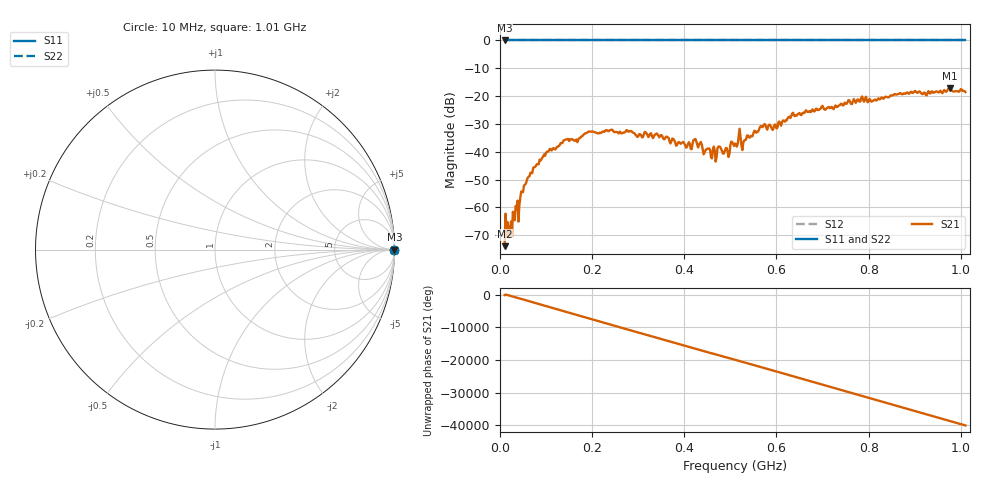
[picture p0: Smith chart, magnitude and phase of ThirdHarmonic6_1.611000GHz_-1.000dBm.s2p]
! 8/16/2025 7:13:39 PM
! C:\ANRITSUVNA\TEMP\TEMP.S2P
! CHANNEL.1
! TR.MEASUREMENT
! RAW.DATA
! RF.CORRECTION.OFF
! AVERAGING.OFF
! IF.BANDWIDTH: 5KHZ
! SWEEPTYPE:  FREQ.SWEEP(Linear)
! Reference Plane Port Info
! PORT:  PORT1  PORT2
! DISTANCE:  0  m  0  m
! TIME:  0  s  0  s
! PHASE.OFFSET:  0  deg.  0  deg.
! LOSS:  0  dB  0  dB
! REF.LOSS:  0  dB  0  dB
! REF.FREQ:  0  Hz  0  Hz
! Power Info
! POWER:  -20  dBm  -20  dBm
! EFF.POWER:  -20  dBm  -20  dBm
! SOURCE.ATTEN:  0  dB  0  dB
! TEST.ATTEN:  0  dB  0  dB
# GHZ S RI R 50.0
! FREQ.GHZ  S11RE  S11IM  S21RE  S21IM  S12RE  S12IM  S22RE  S22IM
!; PortSelection: Port_12
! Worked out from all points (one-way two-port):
!   501 points, 10 MHz to 1.01 GHz, reference 50 ohm
!   highest |S21| = -17.27 dB at 976 MHz (marker M1); lowest = -74.0 dB at 10 MHz (marker M2)
!   lowest |S11| = 0.0 dB at 10 MHz (marker M3)
!   |S11| at or under -10 dB: nowhere
!   |S22| runs from 0.0 to 0.0 dB; largest |S21 - S12| = 1.1
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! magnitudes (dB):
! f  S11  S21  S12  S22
! 10 MHz  0.0  -74.0  0.0  0.0
! 16 MHz  0.0  -65.2  0.0  0.0
! 22 MHz  0.0  -67.6  0.0  0.0
! 50 MHz  0.0  -54.6  0.0  0.0
! 76 MHz  0.0  -45.5  0.0  0.0
! 142 MHz  0.0  -35.7  0.0  0.0
! 178 MHz  0.0  -34.4  0.0  0.0
! 240 MHz  0.0  -32.2  0.0  0.0
! 344 MHz  0.0  -34.3  0.0  0.0
! 404 MHz  0.0  -38.6  0.0  0.0
! 424 MHz  0.0  -35.4  0.0  0.0
! 464 MHz  0.0  -38.2  0.0  0.0
! 510 MHz  0.0  -37.1  0.0  0.0
! 520 MHz  0.0  -31.7  0.0  0.0
! 528 MHz  0.0  -36.7  0.0  0.0
! 570 MHz  0.0  -31.2  0.0  0.0
! 596 MHz  0.0  -30.3  0.0  0.0
! 632 MHz  0.0  -27.2  0.0  0.0
! 678 MHz  0.0  -24.8  0.0  0.0
! 844 MHz  0.0  -20.4  0.0  0.0
! 976 MHz  0.0  -17.3  0.0  0.0
! 1.01 GHz  0.0  -18.6  0.0  0.0
